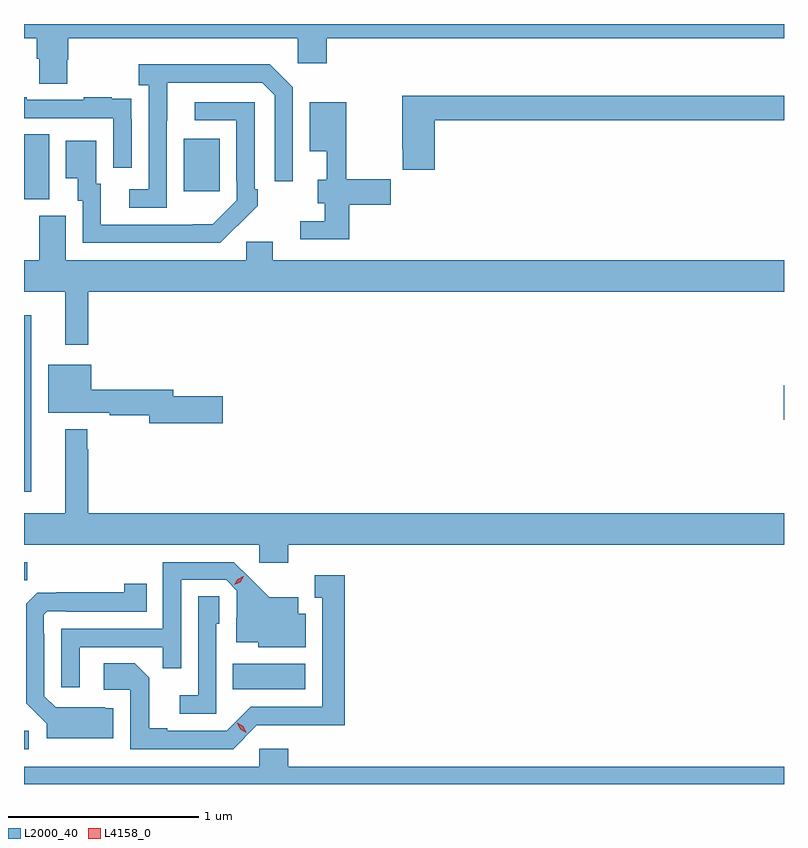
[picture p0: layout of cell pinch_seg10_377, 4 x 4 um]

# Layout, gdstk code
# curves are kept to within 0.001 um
import gdstk
lib = gdstk.Library(unit=1e-6, precision=1e-09)
def R(c, l, rs):  # rectangles x0, y0, x1, y1
    for r in rs: c.add(gdstk.rectangle(r[:2], r[2:], *l))
def P(c, l, *ps):  # polygons
    for p in ps: c.add(gdstk.Polygon(p, *l))
L2000_40 = (2000, 40)
L4158_0 = (4158, 0)

pinch_seg10_377 = lib.new_cell('pinch_seg10_377')
R(pinch_seg10_377, L2000_40, [(611.128,1256.616,611.152,1256.712), (612.226,1256.93,612.607,1257.064), (611.128,1257.505,611.145,1257.6), (611.128,1257.971,611.167,1258.9), (615.126,1258.349,615.128,1258.532), (611.128,1259.509,611.26,1259.852), (611.969,1259.553,612.157,1259.827)])
P(pinch_seg10_377, L2000_40, [(612.57,1260.225),(612.722,1260.225),(612.722,1260.356),(615.128,1260.356),(615.128,1260.432),(611.128,1260.432),(611.128,1260.356),(611.195,1260.356),(611.195,1260.25),(611.207,1260.25),(611.207,1260.118),(611.355,1260.118),(611.355,1260.243),(611.36,1260.243),(611.36,1260.356),(612.57,1260.356)],
  [(611.88,1259.923),(611.881,1260.123),(612.381,1260.123),(612.447,1260.057),(612.447,1259.604),(612.543,1259.604),(612.543,1260.099),(612.422,1260.22),(611.733,1260.22),(611.733,1260.11),(611.784,1260.11),(611.784,1259.562),(611.682,1259.562),(611.682,1259.466),(611.88,1259.466)],
  [(613.289,1259.926),(615.128,1259.926),(615.128,1260.055),(613.118,1260.055),(613.118,1259.773),(613.121,1259.773),(613.121,1259.665),(613.289,1259.665)],
  [(611.694,1259.93),(611.693,1259.93),(611.693,1260.039),(611.591,1260.039),(611.591,1260.046),(611.443,1260.046),(611.443,1260.033),(611.143,1260.033),(611.143,1260.046),(611.128,1260.046),(611.128,1259.937),(611.598,1259.937),(611.598,1259.676),(611.694,1259.676)],
  [(612.251,1259.371),(612.252,1259.37),(612.357,1259.475),(612.357,1259.563),(612.342,1259.563),(612.342,1260.021),(612.027,1260.021),(612.027,1259.925),(612.246,1259.925),(612.246,1259.605),(612.249,1259.605),(612.249,1259.505),(612.121,1259.377),(611.533,1259.376),(611.533,1259.592),(611.509,1259.592),(611.509,1259.818),(611.348,1259.818),(611.348,1259.621),(611.411,1259.621),(611.411,1259.502),(611.436,1259.502),(611.436,1259.28),(612.16,1259.28)],
  [(612.839,1259.482),(613.058,1259.482),(613.058,1259.615),(612.824,1259.615),(612.824,1260.019),(612.632,1260.019),(612.632,1259.762),(612.722,1259.762),(612.722,1259.611),(612.674,1259.611),(612.674,1259.489),(612.711,1259.489),(612.711,1259.394),(612.582,1259.394),(612.582,1259.298),(612.839,1259.298)],
  [(611.347,1259.424),(611.207,1259.424),(611.207,1259.188),(611.128,1259.188),(611.128,1259.024),(611.345,1259.024),(611.345,1258.743),(611.467,1258.743),(611.467,1259.024),(615.128,1259.024),(615.128,1259.188),(612.436,1259.188),(612.436,1259.286),(612.297,1259.286),(612.297,1259.188),(611.347,1259.188)],
  [(612.175,1258.472),(611.914,1258.472),(611.914,1258.508),(611.482,1258.508),(611.482,1258.639),(611.255,1258.639),(611.255,1258.385),(611.578,1258.385),(611.578,1258.372),(611.786,1258.372),(611.786,1258.33),(612.175,1258.33)],
  [(612.518,1257.692),(615.128,1257.692),(615.128,1257.856),(611.467,1257.856),(611.467,1258.193),(611.46,1258.193),(611.46,1258.3),(611.345,1258.3),(611.345,1257.856),(611.128,1257.856),(611.128,1257.692),(612.366,1257.692),(612.366,1257.597),(612.518,1257.597)],
  [(611.421,1257.153),(611.857,1257.153),(611.857,1257.04),(611.955,1257.04),(611.955,1257.507),(612.192,1257.507),(612.249,1257.45),(612.249,1257.308),(612.245,1257.308),(612.245,1257.179),(612.36,1257.179),(612.36,1257.152),(612.61,1257.152),(612.61,1257.328),(612.571,1257.328),(612.571,1257.415),(612.419,1257.415),(612.232,1257.6),(611.859,1257.6),(611.859,1257.249),(611.325,1257.249),(611.325,1256.94),(611.421,1256.94)],
  [(612.354,1256.742),(612.817,1256.741),(612.817,1257.532),(612.659,1257.532),(612.659,1257.411),(612.698,1257.411),(612.698,1256.838),(612.321,1256.838),(612.195,1256.712),(611.881,1256.712),(611.881,1256.725),(611.787,1256.725),(611.787,1256.992),(611.711,1257.068),(611.547,1257.068),(611.547,1256.928),(611.688,1256.928),(611.688,1256.616),(612.228,1256.616)],
  [(611.599,1256.83),(611.558,1256.83),(611.552,1256.836),(611.295,1256.835),(611.235,1256.895),(611.235,1257.224),(611.232,1257.224),(611.232,1257.324),(611.25,1257.342),(611.35,1257.342),(611.35,1257.339),(611.774,1257.339),(611.774,1257.487),(611.656,1257.487),(611.656,1257.44),(611.198,1257.439),(611.139,1257.38),(611.139,1256.858),(611.249,1256.748),(611.249,1256.672),(611.599,1256.672)],
  [(612.141,1257.276),(612.156,1257.276),(612.156,1257.419),(612.045,1257.419),(612.045,1256.899),(611.949,1256.899),(611.949,1256.802),(612.141,1256.802)],
  [(615.128,1256.524),(612.518,1256.524),(612.518,1256.617),(612.366,1256.617),(612.366,1256.524),(611.128,1256.524),(611.128,1256.432),(615.128,1256.432)])
P(pinch_seg10_377, L4158_0, [(612.299,1256.702),(612.267,1256.721),(612.25,1256.754),(612.25,1256.754),(612.25,1256.754),(612.282,1256.735),(612.299,1256.702),(612.299,1256.702)],
  [(612.235,1257.48),(612.235,1257.481),(612.253,1257.51),(612.283,1257.525),(612.284,1257.525),(612.284,1257.525),(612.266,1257.495),(612.235,1257.48)])

lib.write_gds('pinch_seg10_377.gds')
